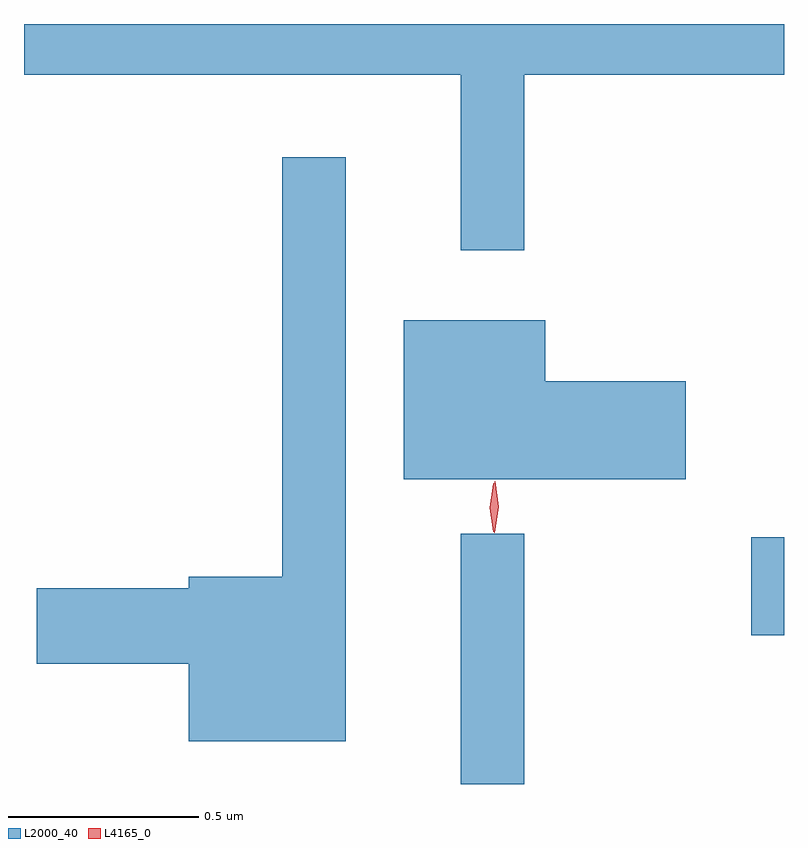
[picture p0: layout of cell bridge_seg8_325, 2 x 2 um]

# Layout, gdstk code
import gdstk
lib = gdstk.Library(unit=1e-6, precision=1e-09)
def R(c, l, rs):  # rectangles x0, y0, x1, y1
    for r in rs: c.add(gdstk.rectangle(r[:2], r[2:], *l))
def P(c, l, *ps):  # polygons
    for p in ps: c.add(gdstk.Polygon(p, *l))
L2000_40 = (2000, 40)
L4165_0 = (4165, 0)

bridge_seg8_325 = lib.new_cell('bridge_seg8_325')
R(bridge_seg8_325, L2000_40, [(987.091,1887.829,987.259,1888.488), (987.856,1888.221,987.942,1888.479)])
P(bridge_seg8_325, L2000_40, [(987.259,1889.696),(987.942,1889.696),(987.942,1889.829),(985.942,1889.829),(985.942,1889.696),(987.091,1889.696),(987.091,1889.233),(987.259,1889.233)],
  [(986.789,1889.478),(986.621,1889.478),(986.621,1888.374),(986.376,1888.374),(986.376,1888.344),(985.976,1888.344),(985.976,1888.146),(986.376,1888.146),(986.376,1887.941),(986.789,1887.941)],
  [(987.684,1888.889),(987.314,1888.889),(987.314,1889.049),(986.941,1889.049),(986.941,1888.631),(987.684,1888.631)])
P(bridge_seg8_325, L4165_0, [(987.18,1888.49),(987.18,1888.49),(987.171,1888.558),(987.181,1888.626),(987.182,1888.626),(987.182,1888.626),(987.191,1888.558),(987.181,1888.49)],
  [(987.177,1888.493),(987.168,1888.556),(987.177,1888.619),(987.178,1888.62),(987.178,1888.619),(987.188,1888.556),(987.178,1888.493),(987.178,1888.493)])

lib.write_gds('bridge_seg8_325.gds')
